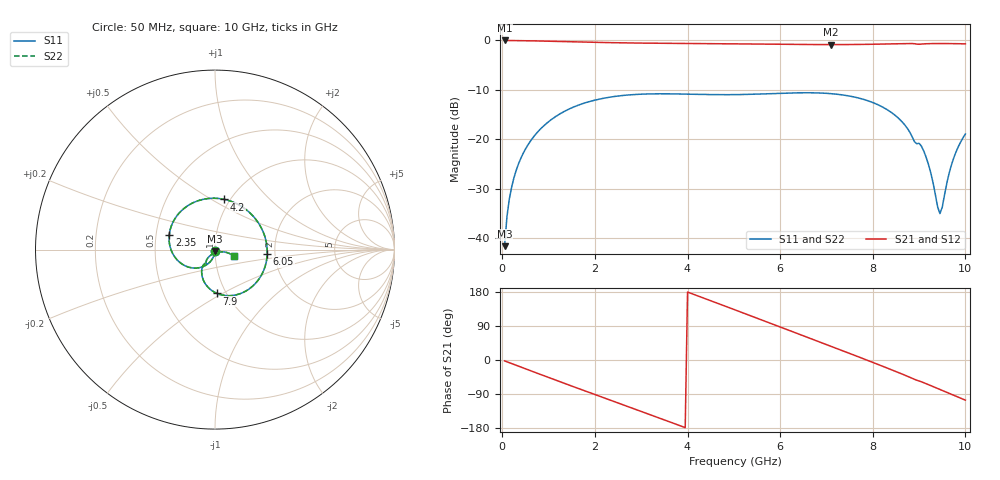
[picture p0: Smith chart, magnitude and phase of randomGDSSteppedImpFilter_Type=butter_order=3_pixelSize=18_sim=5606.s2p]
! freq	dB(S11)	phase(S11)	dB(S12)	phase(S12)
!  dB(S21)	phase(S21)	dB(S22)	phase(S22)
!S-par simulation data
#  GHz  S  DB  R 50
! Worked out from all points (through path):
!   200 points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, 50 MHz to 10 GHz, reference 50 ohm
!   highest |S21| = 0.00 dB at 50 MHz (marker M1); lowest = -0.8 dB at 7.1 GHz (marker M2)
!   group delay of S21, straight-line fit = 128 ps
!   lowest |S11| = -41.7 dB at 50 MHz (marker M3), VSWR 1.02, Z = 50 - j0.824 ohm
!   |S11| at or under -10 dB: start of sweep to end of sweep
!   |S22| runs from -41.7 to -10.6 dB; largest |S21 - S12| = 0
!   S11 on the Smith chart (normalised r, x): 50 MHz: 1.00, -0.02; 2.35 GHz: 0.59, +0.10; 4.2 GHz: 0.94, +0.57; 6.05 GHz: 1.82, -0.09; 7.9 GHz: 0.91, -0.47; 10 GHz: 1.23, -0.09
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0.05  -41.67 -91.4  -0.00 -2.4  -0.00 -2.4  -41.67 -91.4
0.1  -35.73 -94.2  -0.01 -4.7  -0.01 -4.7  -35.73 -94.2
0.2  -29.78 -99.4  -0.02 -9.3  -0.02 -9.3  -29.78 -99.4
0.5  -22.01 -113.7  -0.06 -23.2  -0.06 -23.2  -22.01 -113.7
1.15  -15.43 -143.7  -0.19 -52.9  -0.19 -52.9  -15.43 -143.7
1.75  -12.76 -170.9  -0.33 -80.0  -0.33 -80.0  -12.76 -170.9
2.35  -11.45 162.3  -0.45 -106.8  -0.45 -106.8  -11.45 162.3
2.85  -10.96 140.0  -0.52 -129.0  -0.52 -129.0  -10.96 140.0
3.4  -10.81 115.4  -0.58 -153.6  -0.58 -153.6  -10.81 115.4
4.2  -10.92 79.3  -0.63 170.2  -0.63 170.2  -10.92 79.3
5.05  -10.97 40.7  -0.69 131.2  -0.69 131.2  -10.97 40.7
5.55  -10.86 18.0  -0.73 108.0  -0.73 108.0  -10.86 18.1
6.05  -10.69 -4.5  -0.78 84.8  -0.78 84.8  -10.69 -4.5
6.7  -10.61 -33.7  -0.83 54.7  -0.83 54.7  -10.61 -33.7
7.1  -10.78 -51.6  -0.85 36.1  -0.85 36.1  -10.78 -51.5
7.9  -12.23 -87.2  -0.79 -1.5  -0.79 -1.5  -12.24 -87.2
8.35  -14.26 -107.3  -0.71 -23.1  -0.71 -23.1  -14.26 -107.2
9.05  -21.40 -126.1  -0.73 -57.5  -0.73 -57.5  -21.42 -125.7
9.25  -26.73 -129.5  -0.65 -67.5  -0.65 -67.5  -26.72 -129.1
9.45  -35.07 -73.4  -0.63 -77.7  -0.63 -77.7  -34.91 -73.2
9.7  -25.17 -14.1  -0.64 -90.5  -0.64 -90.5  -25.15 -14.4
10  -18.95 -19.4  -0.70 -106.0  -0.70 -106.0  -18.94 -19.7
